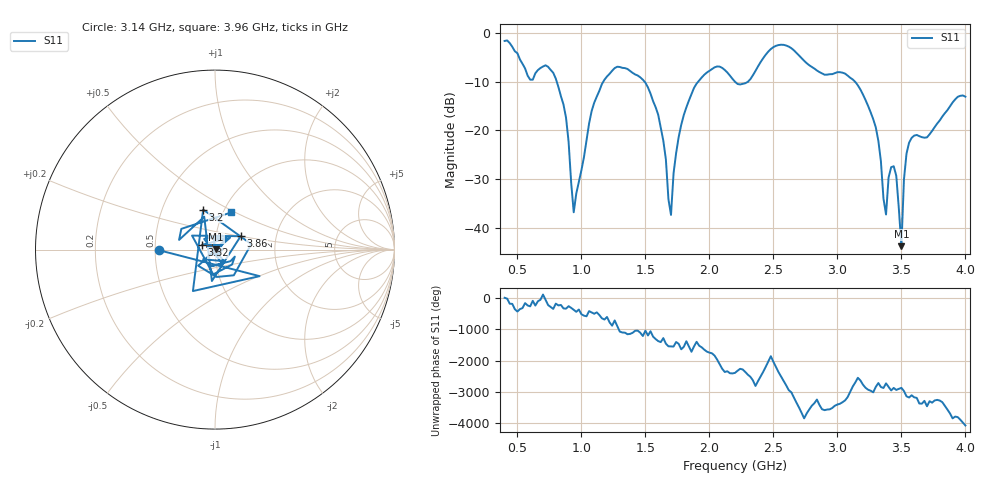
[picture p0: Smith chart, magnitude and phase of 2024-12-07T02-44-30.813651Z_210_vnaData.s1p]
!Created with skrf (http://scikit-rf.org).
# Hz S RI R 50.0
!freq ReS11 ImS11
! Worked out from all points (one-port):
!   181 points, 400 MHz to 4 GHz, reference 50 ohm
!   lowest |S11| = -43.8 dB at 3.5 GHz (marker M1), VSWR 1.01, Z = 50.6 + j0.0741 ohm
!   |S11| at or under -10 dB: 807.1 MHz to 1.172 GHz (364.5 MHz wide, 36.8 % of centre); 1.493 GHz to 1.913 GHz (420.2 MHz wide, 24.7 % of centre); 3.137 GHz to end of sweep (the widest 3 of 4)
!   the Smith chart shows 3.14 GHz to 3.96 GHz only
!   S11 on the Smith chart (normalised r, x): 3.14 GHz: 0.52, -0.00; 3.2 GHz: 0.80, +0.38; 3.32 GHz: 0.86, +0.05; 3.86 GHz: 1.32, +0.20; 3.96 GHz: 1.09, +0.48
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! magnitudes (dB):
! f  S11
! 400 MHz  -1.6
! 600 MHz  -9.6
! 740 MHz  -7.0
! 860 MHz  -14.7
! 900 MHz  -22.4
! 940 MHz  -36.9
! 1.1 GHz  -14.3
! 1.3 GHz  -7.0
! 1.58 GHz  -15.3
! 1.64 GHz  -22.2
! 1.7 GHz  -37.4
! 1.76 GHz  -21.4
! 1.96 GHz  -8.6
! 2.2 GHz  -10.0
! 2.66 GHz  -3.6
! 3.1 GHz  -9.2
! 3.14 GHz  -10.1
! 3.2 GHz  -12.7
! 3.32 GHz  -22.2
! 3.38 GHz  -37.3
! 3.42 GHz  -27.6
! 3.46 GHz  -29.4
! 3.5 GHz  -43.8
! 3.52 GHz  -30.1
! 3.56 GHz  -22.6
! 3.86 GHz  -15.9
! 3.96 GHz  -12.9
! 4 GHz  -13.1
